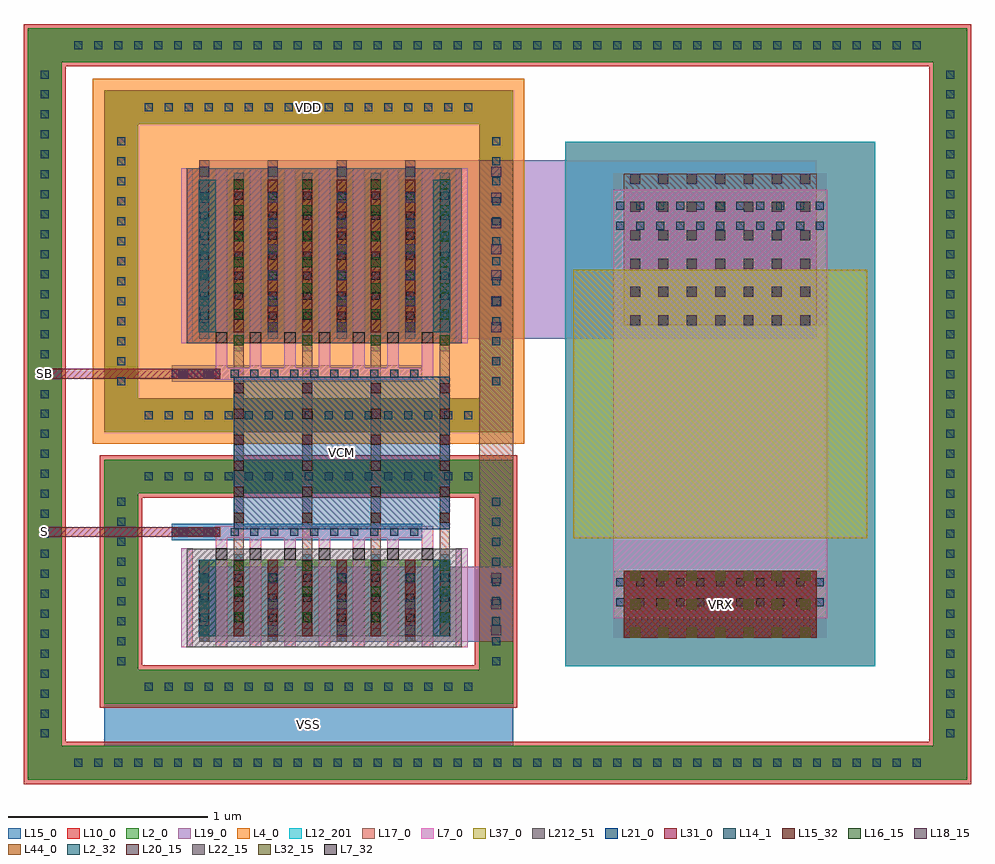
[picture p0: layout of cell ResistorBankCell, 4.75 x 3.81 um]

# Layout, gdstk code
import gdstk
lib = gdstk.Library(unit=1e-6, precision=1e-09)
def R(c, l, rs):  # rectangles x0, y0, x1, y1
    for r in rs: c.add(gdstk.rectangle(r[:2], r[2:], *l))
def A(c, l, x, y, w, h, nx, ny, dx, dy):  # array of equal rectangles
    R(c, l, [(x+i*dx, y+j*dy, x+i*dx+w, y+j*dy+h) for i in range(nx) for j in range(ny)])
L2_0 = (2, 0)
L2_32 = (2, 32)
L4_0 = (4, 0)
L7_0 = (7, 0)
L7_32 = (7, 32)
L10_0 = (10, 0)
L12_201 = (12, 201)
L14_1 = (14, 1)
L15_0 = (15, 0)
L15_32 = (15, 32)
L16_15 = (16, 15)
L17_0 = (17, 0)
L18_15 = (18, 15)
L19_0 = (19, 0)
L20_15 = (20, 15)
L21_0 = (21, 0)
L22_15 = (22, 15)
L31_0 = (31, 0)
L32_15 = (32, 15)
L37_0 = (37, 0)
L44_0 = (44, 0)
L212_51 = (212, 51)

nmosintransmissiongate = lib.new_cell('NMOSInTransmissionGate')
R(nmosintransmissiongate, L2_0, [(-0.63,-0.191,0.63,0.191)])
R(nmosintransmissiongate, L2_32, [(-0.63,-0.191,-0.545,0.191), (0.545,-0.191,0.63,0.191)])
A(nmosintransmissiongate, L7_0, -0.717, -0.248, 0.058, 0.496, 9, 1, 0.172, 0)
A(nmosintransmissiongate, L7_32, -0.545, -0.248, 0.058, 0.057, 7, 1, 0.172, 0)
A(nmosintransmissiongate, L14_1, -0.622, -0.12, 0.04, 0.04, 8, 3, 0.172, 0.1)
A(nmosintransmissiongate, L15_0, -0.627, -0.191, 0.05, 0.382, 8, 1, 0.172, 0)
A(nmosintransmissiongate, L15_32, -0.627, -0.191, 0.05, 0.382, 8, 1, 0.172, 0)
R(nmosintransmissiongate, L212_51, [(-0.688,-0.247,0.688,0.247)])

pmosintransmissiongate = lib.new_cell('PMOSInTransmissionGate')
R(pmosintransmissiongate, L2_0, [(-0.63,-0.382,0.63,0.382)])
R(pmosintransmissiongate, L2_32, [(-0.63,-0.382,-0.545,0.382), (0.545,-0.382,0.63,0.382)])
A(pmosintransmissiongate, L7_0, -0.717, -0.439, 0.058, 0.878, 9, 1, 0.172, 0)
A(pmosintransmissiongate, L7_32, -0.545, -0.439, 0.058, 0.057, 7, 1, 0.172, 0)
R(pmosintransmissiongate, L10_0, [(-0.686,-0.439,0.686,0.439)])
A(pmosintransmissiongate, L14_1, -0.622, -0.32, 0.04, 0.04, 8, 7, 0.172, 0.1)
A(pmosintransmissiongate, L15_0, -0.627, -0.382, 0.05, 0.764, 8, 1, 0.172, 0)
A(pmosintransmissiongate, L15_32, -0.627, -0.382, 0.05, 0.764, 8, 1, 0.172, 0)
R(pmosintransmissiongate, L212_51, [(-0.688,-0.438,0.688,0.438)])

viamet12met2onpmosoutput = lib.new_cell('ViaMet12Met2OnPMOSOutputInTransmissionGate')
R(viamet12met2onpmosoutput, L15_0, [(-0.025,-0.447,0.025,0.447)])
A(viamet12met2onpmosoutput, L16_15, -0.025, -0.415, 0.05, 0.05, 1, 7, 0, 0.13)
R(viamet12met2onpmosoutput, L17_0, [(-0.025,-0.447,0.025,0.447)])

viamet22met3onpmosoutput = lib.new_cell('ViaMet22Met3OnPMOSOutputInTransmissionGate')
R(viamet22met3onpmosoutput, L17_0, [(-0.025,-0.447,0.025,0.447)])
A(viamet22met3onpmosoutput, L18_15, -0.025, -0.415, 0.05, 0.05, 1, 7, 0, 0.13)
R(viamet22met3onpmosoutput, L19_0, [(-0.025,-0.447,0.025,0.447)])

viamet12met2onnmosoutput = lib.new_cell('ViaMet12Met2OnNMOSOutputInTransmissionGate')
R(viamet12met2onnmosoutput, L15_0, [(-0.025,-0.187,0.025,0.187)])
A(viamet12met2onnmosoutput, L16_15, -0.025, -0.155, 0.05, 0.05, 1, 3, 0, 0.13)
R(viamet12met2onnmosoutput, L17_0, [(-0.025,-0.187,0.025,0.187)])

viamet22met3onnmosoutput = lib.new_cell('ViaMet22Met3OnNMOSOutputInTransmissionGate')
R(viamet22met3onnmosoutput, L17_0, [(-0.025,-0.187,0.025,0.187)])
A(viamet22met3onnmosoutput, L18_15, -0.025, -0.155, 0.05, 0.05, 1, 3, 0, 0.13)
R(viamet22met3onnmosoutput, L19_0, [(-0.025,-0.187,0.025,0.187)])

viapoly2met1onpmoscontro = lib.new_cell('ViaPoly2Met1OnPMOSControlInTransmissionGate')
R(viapoly2met1onpmoscontro, L7_0, [(-0.48,-0.03,0.48,0.03)])
A(viapoly2met1onpmoscontro, L14_1, -0.47, -0.02, 0.04, 0.04, 10, 1, 0.1, 0)
R(viapoly2met1onpmoscontro, L15_0, [(-0.491,-0.041,0.491,0.041)])

viapoly2met1onnmoscontro = lib.new_cell('ViaPoly2Met1OnNMOSControlInTransmissionGate')
R(viapoly2met1onnmoscontro, L7_0, [(-0.48,-0.03,0.48,0.03)])
A(viapoly2met1onnmoscontro, L14_1, -0.47, -0.02, 0.04, 0.04, 10, 1, 0.1, 0)
R(viapoly2met1onnmoscontro, L15_0, [(-0.491,-0.041,0.491,0.041)])

transmissiongateinresist = lib.new_cell('TransmissionGateInResistorBank')
transmissiongateinresist.add(gdstk.FlexPath([(-0.516,0.444),(-0.516,0.804)], 0.058, ends="flush", simple_path=True, layer=7, datatype=0))  # L7_0
transmissiongateinresist.add(gdstk.FlexPath([(-0.344,0.444),(-0.344,0.804)], 0.058, ends="flush", simple_path=True, layer=7, datatype=0))  # L7_0
transmissiongateinresist.add(gdstk.FlexPath([(-0.172,0.444),(-0.172,0.804)], 0.058, ends="flush", simple_path=True, layer=7, datatype=0))  # L7_0
transmissiongateinresist.add(gdstk.FlexPath([(0,0.444),(0,0.804)], 0.058, ends="flush", simple_path=True, layer=7, datatype=0))  # L7_0
transmissiongateinresist.add(gdstk.FlexPath([(0.172,0.444),(0.172,0.804)], 0.058, ends="flush", simple_path=True, layer=7, datatype=0))  # L7_0
transmissiongateinresist.add(gdstk.FlexPath([(0.344,0.444),(0.344,0.804)], 0.058, ends="flush", simple_path=True, layer=7, datatype=0))  # L7_0
transmissiongateinresist.add(gdstk.FlexPath([(0.516,0.444),(0.516,0.804)], 0.058, ends="flush", simple_path=True, layer=7, datatype=0))  # L7_0
transmissiongateinresist.add(gdstk.FlexPath([(-0.516,2.157),(-0.516,1.537)], 0.058, ends="flush", simple_path=True, layer=7, datatype=0))  # L7_0
transmissiongateinresist.add(gdstk.FlexPath([(-0.344,2.157),(-0.344,1.537)], 0.058, ends="flush", simple_path=True, layer=7, datatype=0))  # L7_0
transmissiongateinresist.add(gdstk.FlexPath([(-0.172,2.157),(-0.172,1.537)], 0.058, ends="flush", simple_path=True, layer=7, datatype=0))  # L7_0
transmissiongateinresist.add(gdstk.FlexPath([(0,2.157),(0,1.537)], 0.058, ends="flush", simple_path=True, layer=7, datatype=0))  # L7_0
transmissiongateinresist.add(gdstk.FlexPath([(0.172,2.157),(0.172,1.537)], 0.058, ends="flush", simple_path=True, layer=7, datatype=0))  # L7_0
transmissiongateinresist.add(gdstk.FlexPath([(0.344,2.157),(0.344,1.537)], 0.058, ends="flush", simple_path=True, layer=7, datatype=0))  # L7_0
transmissiongateinresist.add(gdstk.FlexPath([(0.516,2.157),(0.516,1.537)], 0.058, ends="flush", simple_path=True, layer=7, datatype=0))  # L7_0
transmissiongateinresist.add(gdstk.FlexPath([(-0.516,0.774),(0.516,0.774)], 0.06, ends="flush", simple_path=True, layer=7, datatype=0))  # L7_0
transmissiongateinresist.add(gdstk.FlexPath([(-0.516,1.567),(0.516,1.567)], 0.06, ends="flush", simple_path=True, layer=7, datatype=0))  # L7_0
transmissiongateinresist.add(gdstk.Reference(nmosintransmissiongate, (0,0.444), x_reflection=True))
transmissiongateinresist.add(gdstk.Reference(pmosintransmissiongate, (0,2.157)))
transmissiongateinresist.add(gdstk.Reference(viamet12met2onpmosoutput, (-0.43,2.125)))
transmissiongateinresist.add(gdstk.Reference(viamet12met2onpmosoutput, (-0.086,2.125)))
transmissiongateinresist.add(gdstk.Reference(viamet12met2onpmosoutput, (0.258,2.125)))
transmissiongateinresist.add(gdstk.Reference(viamet12met2onpmosoutput, (0.602,2.125)))
transmissiongateinresist.add(gdstk.Reference(viamet12met2onpmosoutput, (-0.602,2.189)))
transmissiongateinresist.add(gdstk.Reference(viamet12met2onpmosoutput, (-0.258,2.189)))
transmissiongateinresist.add(gdstk.Reference(viamet12met2onpmosoutput, (0.086,2.189)))
transmissiongateinresist.add(gdstk.Reference(viamet12met2onpmosoutput, (0.43,2.189)))
transmissiongateinresist.add(gdstk.Reference(viamet22met3onpmosoutput, (-0.602,2.189)))
transmissiongateinresist.add(gdstk.Reference(viamet22met3onpmosoutput, (-0.258,2.189)))
transmissiongateinresist.add(gdstk.Reference(viamet22met3onpmosoutput, (0.086,2.189)))
transmissiongateinresist.add(gdstk.Reference(viamet22met3onpmosoutput, (0.43,2.189)))
transmissiongateinresist.add(gdstk.Reference(viamet12met2onnmosoutput, (-0.43,0.476)))
transmissiongateinresist.add(gdstk.Reference(viamet12met2onnmosoutput, (-0.086,0.476)))
transmissiongateinresist.add(gdstk.Reference(viamet12met2onnmosoutput, (0.258,0.476)))
transmissiongateinresist.add(gdstk.Reference(viamet12met2onnmosoutput, (0.602,0.476)))
transmissiongateinresist.add(gdstk.Reference(viamet12met2onnmosoutput, (-0.602,0.412)))
transmissiongateinresist.add(gdstk.Reference(viamet12met2onnmosoutput, (-0.258,0.412)))
transmissiongateinresist.add(gdstk.Reference(viamet12met2onnmosoutput, (0.086,0.412)))
transmissiongateinresist.add(gdstk.Reference(viamet12met2onnmosoutput, (0.43,0.412)))
transmissiongateinresist.add(gdstk.Reference(viamet22met3onnmosoutput, (-0.602,0.412)))
transmissiongateinresist.add(gdstk.Reference(viamet22met3onnmosoutput, (-0.258,0.412)))
transmissiongateinresist.add(gdstk.Reference(viamet22met3onnmosoutput, (0.086,0.412)))
transmissiongateinresist.add(gdstk.Reference(viamet22met3onnmosoutput, (0.43,0.412)))
transmissiongateinresist.add(gdstk.Reference(viapoly2met1onpmoscontro, (0,1.567)))
transmissiongateinresist.add(gdstk.Reference(viapoly2met1onnmoscontro, (0,0.774)))

viamet12met2oninputinres = lib.new_cell('ViaMet12Met2OnInputInResistorBank')
R(viamet12met2oninputinres, L15_0, [(-0.122,-0.025,0.122,0.025)])
R(viamet12met2oninputinres, L16_15, [(-0.09,-0.025,-0.04,0.025), (0.04,-0.025,0.09,0.025)])
R(viamet12met2oninputinres, L17_0, [(-0.122,-0.025,0.122,0.025)])

viamet22met3oninputinres = lib.new_cell('ViaMet22Met3OnInputInResistorBank')
R(viamet22met3oninputinres, L17_0, [(-0.122,-0.025,0.122,0.025)])
R(viamet22met3oninputinres, L18_15, [(-0.09,-0.025,-0.04,0.025), (0.04,-0.025,0.09,0.025)])
R(viamet22met3oninputinres, L19_0, [(-0.122,-0.025,0.122,0.025)])

viamet32met4oninputinres = lib.new_cell('ViaMet32Met4OnInputInResistorBank')
R(viamet32met4oninputinres, L19_0, [(-0.122,-0.025,0.122,0.025)])
R(viamet32met4oninputinres, L20_15, [(-0.09,-0.025,-0.04,0.025), (0.04,-0.025,0.09,0.025)])
R(viamet32met4oninputinres, L21_0, [(-0.122,-0.025,0.122,0.025)])

viamet42met5oninputinres = lib.new_cell('ViaMet42Met5OnInputInResistorBank')
R(viamet42met5oninputinres, L21_0, [(-0.122,-0.025,0.122,0.025)])
R(viamet42met5oninputinres, L22_15, [(-0.09,-0.025,-0.04,0.025), (0.04,-0.025,0.09,0.025)])
R(viamet42met5oninputinres, L31_0, [(-0.122,-0.025,0.122,0.025)])

opppcresinresistorbank = lib.new_cell('OpppcresInResistorBank')
R(opppcresinresistorbank, L7_0, [(-0.536,-1.073,0.536,1.073)])
R(opppcresinresistorbank, L10_0, [(-0.776,-1.313,0.776,1.313)])
R(opppcresinresistorbank, L12_201, [(-0.776,-1.313,0.776,1.313)])
A(opppcresinresistorbank, L14_1, -0.52, -1.013, 0.04, 0.04, 11, 2, 0.1, 0.1)
A(opppcresinresistorbank, L14_1, -0.52, 0.873, 0.04, 0.04, 11, 2, 0.1, 0.1)
R(opppcresinresistorbank, L15_0, [(-0.532,-1.025,0.532,-0.861), (-0.532,0.861,0.532,1.025)])
R(opppcresinresistorbank, L37_0, [(-0.736,-0.673,0.736,0.673)])

pmossubringinresistorban = lib.new_cell('PMOSSubringInResistorBank')
R(pmossubringinresistorban, L2_0, [(-1.024,-0.857,1.024,-0.687), (-1.024,-0.857,-0.854,0.857), (0.854,-0.857,1.024,0.857), (-1.024,0.687,1.024,0.857)])
A(pmossubringinresistorban, L14_1, -0.82, -0.792, 0.04, 0.04, 17, 2, 0.1, 1.544)
A(pmossubringinresistorban, L14_1, -0.959, -0.62, 0.04, 0.04, 1, 13, 0, 0.1)
A(pmossubringinresistorban, L14_1, 0.919, -0.62, 0.04, 0.04, 1, 13, 0, 0.1)
R(pmossubringinresistorban, L15_0, [(-1.024,-0.857,1.024,-0.687), (-1.024,-0.857,-0.854,0.857), (0.854,-0.857,1.024,0.857), (-1.024,0.687,1.024,0.857)])
pmossubringinresistorban.add(gdstk.FlexPath([(0.939,0.913),(0.939,-0.772),(-0.939,-0.772),(-0.939,0.772),(1.08,0.772)], 0.282, ends="flush", simple_path=True, layer=4, datatype=0))  # L4_0

nmossubringinresistorban = lib.new_cell('NMOSSubringInResistorBank')
R(nmossubringinresistorban, L2_0, [(-1.024,-0.611,1.024,-0.441), (-1.024,-0.611,-0.854,0.611), (0.854,-0.611,1.024,0.611), (-1.024,0.441,1.024,0.611)])
A(nmossubringinresistorban, L14_1, -0.82, -0.546, 0.04, 0.04, 17, 2, 0.1, 1.052)
A(nmossubringinresistorban, L14_1, -0.959, -0.42, 0.04, 0.04, 1, 9, 0, 0.1)
A(nmossubringinresistorban, L14_1, 0.919, -0.42, 0.04, 0.04, 1, 9, 0, 0.1)
R(nmossubringinresistorban, L15_0, [(-1.024,-0.611,1.024,-0.441), (-1.024,-0.611,-0.854,0.611), (0.854,-0.611,1.024,0.611), (-1.024,0.441,1.024,0.611)])
nmossubringinresistorban.add(gdstk.FlexPath([(0.939,0.632),(0.939,-0.526),(-0.939,-0.526),(-0.939,0.526),(1.045,0.526)], 0.212, ends="flush", simple_path=True, layer=10, datatype=0))  # L10_0

totalsubringinresistorba = lib.new_cell('TotalSubringInResistorBank')
R(totalsubringinresistorba, L2_0, [(-2.352,-1.882,2.352,-1.712), (-2.352,-1.882,-2.182,1.882), (2.182,-1.882,2.352,1.882), (-2.352,1.712,2.352,1.882)])
A(totalsubringinresistorba, L14_1, -2.12, -1.817, 0.04, 0.04, 43, 2, 0.1, 3.594)
A(totalsubringinresistorba, L14_1, -2.287, -1.67, 0.04, 0.04, 1, 34, 0, 0.1)
A(totalsubringinresistorba, L14_1, 2.247, -1.67, 0.04, 0.04, 1, 34, 0, 0.1)
R(totalsubringinresistorba, L15_0, [(-2.352,-1.882,2.352,-1.712), (-2.352,-1.882,-2.182,1.882), (2.182,-1.882,2.352,1.882), (-2.352,1.712,2.352,1.882)])
totalsubringinresistorba.add(gdstk.FlexPath([(2.267,1.903),(2.267,-1.797),(-2.267,-1.797),(-2.267,1.797),(2.373,1.797)], 0.212, ends="flush", simple_path=True, layer=10, datatype=0))  # L10_0

viamet12met2onresistorin = lib.new_cell('ViaMet12Met2OnResistorInResistorBank')
R(viamet12met2onresistorin, L15_0, [(-0.483,-0.38,0.483,0.38)])
A(viamet12met2onresistorin, L16_15, -0.451, -0.38, 0.05, 0.05, 7, 6, 0.142, 0.142)
R(viamet12met2onresistorin, L17_0, [(-0.483,-0.38,0.483,0.38)])

viamet12met2onresistor1i = lib.new_cell('ViaMet12Met2OnResistor1InResistorBank')
R(viamet12met2onresistor1i, L15_0, [(-0.483,-0.167,0.483,0.167)])
A(viamet12met2onresistor1i, L16_15, -0.451, -0.167, 0.05, 0.05, 7, 3, 0.142, 0.142)
R(viamet12met2onresistor1i, L17_0, [(-0.483,-0.167,0.483,0.167)])

viamet22met3onresistorin = lib.new_cell('ViaMet22Met3OnResistorInResistorBank')
R(viamet22met3onresistorin, L17_0, [(-0.483,-0.38,0.483,0.38)])
A(viamet22met3onresistorin, L18_15, -0.451, -0.38, 0.05, 0.05, 7, 6, 0.142, 0.142)
R(viamet22met3onresistorin, L19_0, [(-0.483,-0.38,0.483,0.38)])

viamet22met3onresistor1i = lib.new_cell('ViaMet22Met3OnResistor1InResistorBank')
R(viamet22met3onresistor1i, L17_0, [(-0.483,-0.167,0.483,0.167)])
A(viamet22met3onresistor1i, L18_15, -0.451, -0.167, 0.05, 0.05, 7, 3, 0.142, 0.142)
R(viamet22met3onresistor1i, L19_0, [(-0.483,-0.167,0.483,0.167)])

viamet32met4onresistorin = lib.new_cell('ViaMet32Met4OnResistorInResistorBank')
R(viamet32met4onresistorin, L19_0, [(-0.483,-0.167,0.483,0.167)])
A(viamet32met4onresistorin, L20_15, -0.451, -0.167, 0.05, 0.05, 7, 3, 0.142, 0.142)
R(viamet32met4onresistorin, L21_0, [(-0.483,-0.167,0.483,0.167)])

viamet42met5onresistorin = lib.new_cell('ViaMet42Met5OnResistorInResistorBank')
R(viamet42met5onresistorin, L21_0, [(-0.483,-0.167,0.483,0.167)])
A(viamet42met5onresistorin, L22_15, -0.451, -0.167, 0.05, 0.05, 7, 3, 0.142, 0.142)
R(viamet42met5onresistorin, L31_0, [(-0.483,-0.167,0.483,0.167)])

viamet52met6onresistorin = lib.new_cell('ViaMet52Met6OnResistorInResistorBank')
R(viamet52met6onresistorin, L31_0, [(-0.483,-0.167,0.483,0.167)])
A(viamet52met6onresistorin, L32_15, -0.451, -0.167, 0.05, 0.05, 7, 3, 0.142, 0.142)
R(viamet52met6onresistorin, L44_0, [(-0.483,-0.167,0.483,0.167)])

viavcmmet22met3inresisto = lib.new_cell('ViaVCMMet22Met3InResistorBank')
R(viavcmmet22met3inresisto, L17_0, [(-0.025,-0.382,0.025,0.382)])
A(viavcmmet22met3inresisto, L18_15, -0.025, -0.35, 0.05, 0.05, 1, 6, 0, 0.13)
R(viavcmmet22met3inresisto, L19_0, [(-0.025,-0.382,0.025,0.382)])

viavcmmet32met4inresisto = lib.new_cell('ViaVCMMet32Met4InResistorBank')
R(viavcmmet32met4inresisto, L19_0, [(-0.025,-0.382,0.025,0.382)])
A(viavcmmet32met4inresisto, L20_15, -0.025, -0.35, 0.05, 0.05, 1, 6, 0, 0.13)
R(viavcmmet32met4inresisto, L21_0, [(-0.025,-0.382,0.025,0.382)])

viatgpmos2resmet22met3in = lib.new_cell('ViaTGPMOS2ResMet22Met3InResistorBank')
R(viatgpmos2resmet22met3in, L17_0, [(-0.057,-0.415,0.057,0.415)])
A(viatgpmos2resmet22met3in, L18_15, -0.025, -0.415, 0.05, 0.05, 1, 7, 0, 0.13)
R(viatgpmos2resmet22met3in, L19_0, [(-0.057,-0.415,0.057,0.415)])

viatgnmos2resmet22met3in = lib.new_cell('ViaTGNMOS2ResMet22Met3InResistorBank')
R(viatgnmos2resmet22met3in, L17_0, [(-0.057,-0.155,0.057,0.155)])
A(viatgnmos2resmet22met3in, L18_15, -0.025, -0.155, 0.05, 0.05, 1, 3, 0, 0.13)
R(viatgnmos2resmet22met3in, L19_0, [(-0.057,-0.155,0.057,0.155)])

resistorbankcell = lib.new_cell('ResistorBankCell')
R(resistorbankcell, L15_0, [(-1.103,-0.467,0.945,0.085)])
A(resistorbankcell, L17_0, -0.455, 0.289, 0.05, 2.284, 4, 1, 0.344, 0)
R(resistorbankcell, L21_0, [(-0.43,0.788,0.602,1.552)])
resistorbankcell.add(gdstk.FlexPath([(-0.643,1.567),(-1.4,1.567)], 0.05, ends="flush", simple_path=True, layer=31, datatype=0))  # L31_0
resistorbankcell.add(gdstk.FlexPath([(-0.643,0.774),(-1.4,0.774)], 0.05, ends="flush", simple_path=True, layer=31, datatype=0))  # L31_0
resistorbankcell.add(gdstk.FlexPath([(-0.933,2.13),(0.775,2.13)], 1.374, ends="flush", simple_path=True, layer=4, datatype=0))  # L4_0
resistorbankcell.add(gdstk.FlexPath([(-0.765,1.567),(0,1.567)], 0.082, ends="flush", simple_path=True, layer=15, datatype=0))  # L15_0
resistorbankcell.add(gdstk.FlexPath([(-0.765,0.774),(0,0.774)], 0.082, ends="flush", simple_path=True, layer=15, datatype=0))  # L15_0
resistorbankcell.add(gdstk.FlexPath([(1.982,1.809),(1.982,2.569)], 1.064, ends="flush", simple_path=True, layer=15, datatype=0))  # L15_0
resistorbankcell.add(gdstk.FlexPath([(1.982,0.579),(1.982,0.245)], 1.064, ends="flush", simple_path=True, layer=15, datatype=0))  # L15_0
resistorbankcell.add(gdstk.FlexPath([(-0.602,2.189),(2.465,2.189)], 0.894, ends="flush", simple_path=True, layer=19, datatype=0))  # L19_0
resistorbankcell.add(gdstk.FlexPath([(-0.602,0.412),(0.945,0.412)], 0.374, ends="flush", simple_path=True, layer=19, datatype=0))  # L19_0
resistorbankcell.add(gdstk.FlexPath([(0.86,2.636),(0.86,0.225)], 0.17, ends="flush", simple_path=True, layer=17, datatype=0))  # L17_0
resistorbankcell.add(gdstk.Reference(transmissiongateinresist, (0,0)))
resistorbankcell.add(gdstk.Reference(viamet12met2oninputinres, (-0.643,1.567)))
resistorbankcell.add(gdstk.Reference(viamet12met2oninputinres, (-0.643,0.774)))
resistorbankcell.add(gdstk.Reference(viamet22met3oninputinres, (-0.643,1.567)))
resistorbankcell.add(gdstk.Reference(viamet22met3oninputinres, (-0.643,0.774)))
resistorbankcell.add(gdstk.Reference(viamet32met4oninputinres, (-0.643,1.567)))
resistorbankcell.add(gdstk.Reference(viamet32met4oninputinres, (-0.643,0.774)))
resistorbankcell.add(gdstk.Reference(viamet42met5oninputinres, (-0.643,1.567)))
resistorbankcell.add(gdstk.Reference(viamet42met5oninputinres, (-0.643,0.774)))
resistorbankcell.add(gdstk.Reference(opppcresinresistorbank, (1.982,1.415)))
resistorbankcell.add(gdstk.Reference(pmossubringinresistorban, (-0.079,2.13)))
resistorbankcell.add(gdstk.Reference(nmossubringinresistorban, (-0.079,0.526)))
resistorbankcell.add(gdstk.Reference(totalsubringinresistorba, (0.867,1.415)))
resistorbankcell.add(gdstk.Reference(viamet12met2onresistorin, (1.982,2.189)))
resistorbankcell.add(gdstk.Reference(viamet12met2onresistor1i, (1.982,0.412)))
resistorbankcell.add(gdstk.Reference(viamet22met3onresistorin, (1.982,2.189)))
resistorbankcell.add(gdstk.Reference(viamet22met3onresistor1i, (1.982,0.412)))
resistorbankcell.add(gdstk.Reference(viamet32met4onresistorin, (1.982,0.412)))
resistorbankcell.add(gdstk.Reference(viamet42met5onresistorin, (1.982,0.412)))
resistorbankcell.add(gdstk.Reference(viamet52met6onresistorin, (1.982,0.412)))
resistorbankcell.add(gdstk.Reference(viavcmmet22met3inresisto, (-0.43,1.17)))
resistorbankcell.add(gdstk.Reference(viavcmmet22met3inresisto, (-0.086,1.17)))
resistorbankcell.add(gdstk.Reference(viavcmmet22met3inresisto, (0.258,1.17)))
resistorbankcell.add(gdstk.Reference(viavcmmet22met3inresisto, (0.602,1.17)))
resistorbankcell.add(gdstk.Reference(viavcmmet32met4inresisto, (-0.43,1.17)))
resistorbankcell.add(gdstk.Reference(viavcmmet32met4inresisto, (-0.086,1.17)))
resistorbankcell.add(gdstk.Reference(viavcmmet32met4inresisto, (0.258,1.17)))
resistorbankcell.add(gdstk.Reference(viavcmmet32met4inresisto, (0.602,1.17)))
resistorbankcell.add(gdstk.Reference(viatgpmos2resmet22met3in, (0.86,2.189)))
resistorbankcell.add(gdstk.Reference(viatgnmos2resmet22met3in, (0.86,0.412)))
resistorbankcell.add(gdstk.Label('VDD', (-0.079,2.902), layer=15, texttype=20))
resistorbankcell.add(gdstk.Label('VSS', (-0.079,-0.191), layer=15, texttype=20))
resistorbankcell.add(gdstk.Label('S', (-1.4,0.774), layer=31, texttype=20))
resistorbankcell.add(gdstk.Label('SB', (-1.4,1.567), layer=31, texttype=20))
resistorbankcell.add(gdstk.Label('VRX', (1.982,0.412), layer=44, texttype=20))
resistorbankcell.add(gdstk.Label('VCM', (0.086,1.17), layer=21, texttype=20))

lib.write_gds('ResistorBankCell.gds')
